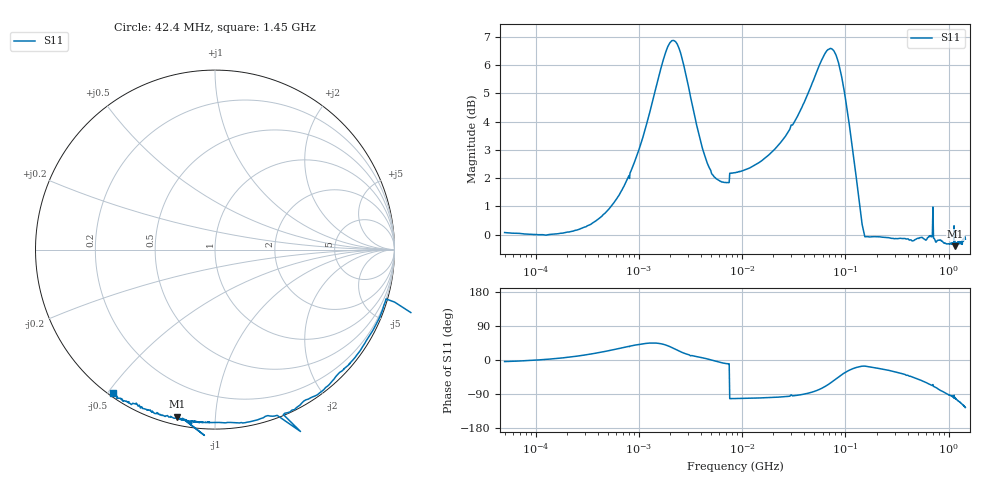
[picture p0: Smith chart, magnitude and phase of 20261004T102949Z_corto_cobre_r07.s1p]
! piloto_corto / corto_cobre / r07
# HZ S RI R 50
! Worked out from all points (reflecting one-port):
!   501 points, 50 kHz to 1.45 GHz, reference 50 ohm
!   lowest |S11| = -0.4 dB at 1.162 GHz (marker M1), VSWR 42.86, Z = 1.91 - j39.8 ohm
!   phase of S11 starts at -4 deg and turns -121 deg over the sweep
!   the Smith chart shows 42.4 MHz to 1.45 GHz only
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50000  1.006 -0.0723
183000  1.002 0.0984
363500  1.006 0.3073
658000  1.015 0.6109
1180000  1.127 1.085
1630000  1.441 1.34
1990000  1.78 1.265
2440000  1.957 0.8608
3340000  1.642 0.3177
4690000  1.325 0.054
7300000  1.218 -0.215
7750000  -0.2652 -1.257
8560000  -0.2604 -1.261
1.81e7  -0.2239 -1.366
3.16e7  -0.119 -1.572
4.78e7  0.1772 -1.849
6.67e7  0.8526 -1.94
7.57e7  1.194 -1.757
8.83e7  1.461 -1.318
9.82e7  1.478 -0.9853
1e8  1.467 -0.9332
1.18e8  1.294 -0.5443
1.36e8  1.091 -0.3507
1.63e8  0.9479 -0.2931
4.06e8  0.7412 -0.6453
6.85e8  0.3893 -0.9114
1.162e9  -0.2127 -0.9304
1.45e9  -0.5693 -0.8011
